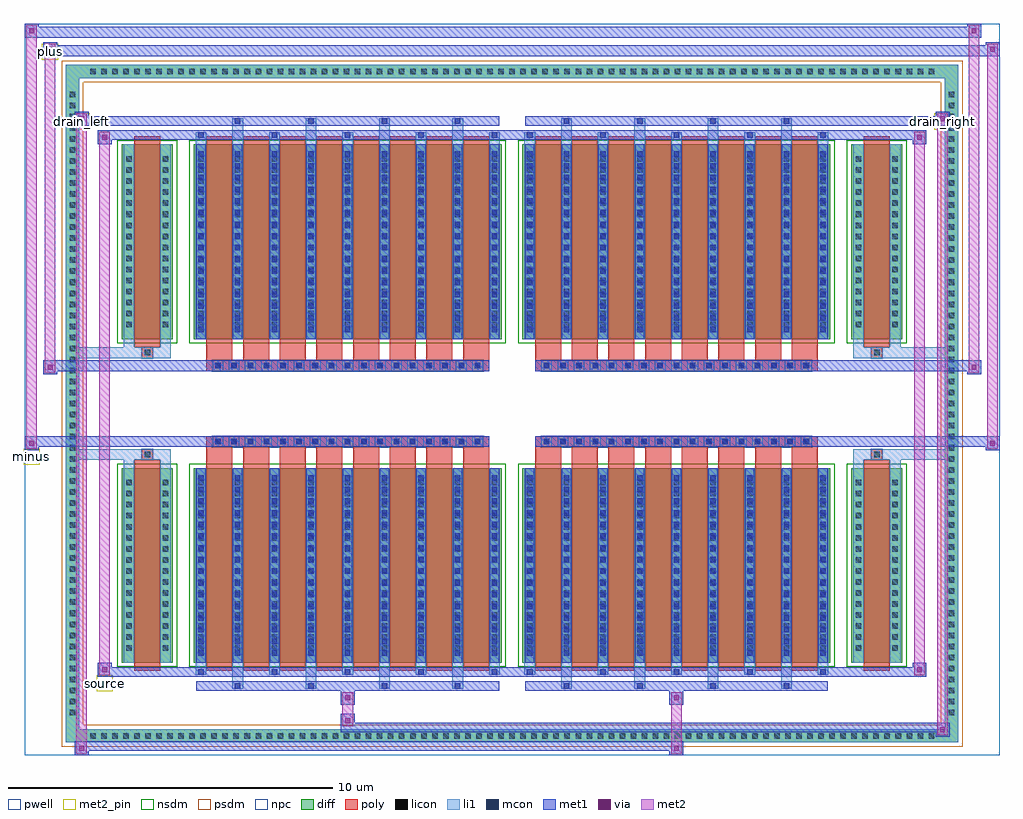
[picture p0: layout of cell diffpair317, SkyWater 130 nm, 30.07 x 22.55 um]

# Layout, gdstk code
import gdstk
lib = gdstk.Library(unit=1e-6, precision=5e-09)
def R(c, l, rs):  # rectangles x0, y0, x1, y1
    for r in rs: c.add(gdstk.rectangle(r[:2], r[2:], *l))
def A(c, l, x, y, w, h, nx, ny, dx, dy):  # array of equal rectangles
    R(c, l, [(x+i*dx, y+j*dy, x+i*dx+w, y+j*dy+h) for i in range(nx) for j in range(ny)])
def P(c, l, *ps):  # polygons
    for p in ps: c.add(gdstk.Polygon(p, *l))
pwell = (64, 44)
diff = (65, 20)
poly = (66, 20)
licon = (66, 44)
li1 = (67, 20)
mcon = (67, 44)
met1 = (68, 20)
via = (68, 44)
met2_pin = (69, 16)
met2 = (69, 20)
nsdm = (93, 44)
psdm = (94, 20)
npc = (95, 20)

diffpair317 = lib.new_cell('diffpair317')
R(diffpair317, pwell, [(-15.02,-10.84,15.02,11.71), (-12.34,-9.03,-0.01,-0.805), (0.01,-9.03,12.34,-0.805), (-12.34,0.805,-0.01,9.03), (0.01,0.805,12.34,9.03)])
A(diffpair317, diff, -13.125, -10.44, 0.41, 0.41, 77, 2, 0.34, 20.47)
A(diffpair317, diff, -13.75, -9.725, 0.41, 0.41, 1, 57, 0, 0.34)
A(diffpair317, diff, 13.34, -9.725, 0.41, 0.41, 1, 57, 0, 0.34)
R(diffpair317, diff, [(-13.125,-10.44,13.125,-10.03), (-13.75,-9.725,-13.34,9.725), (13.34,-9.725,13.75,9.725), (-12.03,-7.985,-10.45,-1.985), (-9.81,-7.985,-0.32,-1.985), (0.32,-7.985,9.81,-1.985), (10.45,-7.985,12.03,-1.985), (-12.03,1.985,-10.45,7.985), (-9.81,1.985,-0.32,7.985), (0.32,1.985,9.81,7.985), (10.45,1.985,12.03,7.985), (-13.125,10.03,13.125,10.44)])
P(diffpair317, diff, [(13.75,10.44),(-13.75,10.44),(-13.75,-10.03),(-13.34,-10.03),(-13.34,10.03),(13.34,10.03),(13.34,-10.03),(-13.34,-10.03),(-13.75,-10.03),(-13.75,-10.44),(13.75,-10.44)])
A(diffpair317, poly, -9.42, -8.235, 0.8, 6.5, 8, 2, 1.13, 9.97)
A(diffpair317, poly, 0.71, -8.235, 0.8, 6.5, 8, 2, 1.13, 9.97)
A(diffpair317, poly, -9.42, -1.735, 0.8, 0.4, 8, 2, 1.13, 3.07)
A(diffpair317, poly, 0.71, -1.735, 0.8, 0.4, 8, 2, 1.13, 3.07)
A(diffpair317, poly, -9.23, -1.335, 0.33, 0.33, 17, 2, 0.5, 2.34)
A(diffpair317, poly, 0.9, -1.335, 0.33, 0.33, 17, 2, 0.5, 2.34)
R(diffpair317, poly, [(-11.64,-8.235,-10.84,-1.735), (10.84,-8.235,11.64,-1.735), (-11.405,-1.735,-11.075,-1.405), (-11.405,-1.735,-11.075,-1.405), (11.075,-1.735,11.405,-1.405), (11.075,-1.735,11.405,-1.405), (-9.42,-1.335,-0.71,-1.005), (0.71,-1.335,9.42,-1.005), (-9.42,1.005,-0.71,1.335), (0.71,1.005,9.42,1.335), (-11.405,1.405,-11.075,1.735), (-11.405,1.405,-11.075,1.735), (11.075,1.405,11.405,1.735), (11.075,1.405,11.405,1.735), (-11.64,1.735,-10.84,8.235), (10.84,1.735,11.64,8.235)])
A(diffpair317, licon, -13.005, -10.32, 0.17, 0.17, 77, 2, 0.34, 20.47)
A(diffpair317, licon, -13.63, -9.605, 0.17, 0.17, 1, 57, 0, 0.34)
A(diffpair317, licon, 13.46, -9.605, 0.17, 0.17, 1, 57, 0, 0.34)
A(diffpair317, licon, -11.89, -7.62, 0.17, 0.17, 1, 16, 0, 0.34)
A(diffpair317, licon, -10.76, -7.62, 0.17, 0.17, 1, 16, 0, 0.34)
A(diffpair317, licon, -9.67, -7.62, 0.17, 0.17, 9, 16, 1.13, 0.34)
A(diffpair317, licon, 0.46, -7.62, 0.17, 0.17, 9, 16, 1.13, 0.34)
A(diffpair317, licon, 10.59, -7.62, 0.17, 0.17, 1, 16, 0, 0.34)
A(diffpair317, licon, 11.72, -7.62, 0.17, 0.17, 1, 16, 0, 0.34)
A(diffpair317, licon, -9.15, -1.255, 0.17, 0.17, 17, 2, 0.5, 2.34)
A(diffpair317, licon, 0.98, -1.255, 0.17, 0.17, 17, 2, 0.5, 2.34)
A(diffpair317, licon, -11.89, 2.35, 0.17, 0.17, 1, 16, 0, 0.34)
A(diffpair317, licon, -10.76, 2.35, 0.17, 0.17, 1, 16, 0, 0.34)
A(diffpair317, licon, -9.67, 2.35, 0.17, 0.17, 9, 16, 1.13, 0.34)
A(diffpair317, licon, 0.46, 2.35, 0.17, 0.17, 9, 16, 1.13, 0.34)
A(diffpair317, licon, 10.59, 2.35, 0.17, 0.17, 1, 16, 0, 0.34)
A(diffpair317, licon, 11.72, 2.35, 0.17, 0.17, 1, 16, 0, 0.34)
R(diffpair317, licon, [(-11.325,-1.655,-11.155,-1.485), (11.155,-1.655,11.325,-1.485), (-11.325,1.485,-11.155,1.655), (11.155,1.485,11.325,1.655)])
A(diffpair317, li1, -13.085, -10.4, 0.33, 0.33, 77, 2, 0.34, 20.47)
A(diffpair317, li1, -13.71, -9.685, 0.33, 0.33, 1, 57, 0, 0.34)
A(diffpair317, li1, 13.38, -9.685, 0.33, 0.33, 1, 57, 0, 0.34)
A(diffpair317, li1, -8.62, -8.79, 0.33, 0.805, 4, 2, 2.26, 16.775)
A(diffpair317, li1, -8.54, -8.79, 0.17, 0.17, 4, 2, 2.26, 17.41)
A(diffpair317, li1, 1.51, -8.79, 0.33, 0.805, 4, 2, 2.26, 16.775)
A(diffpair317, li1, 1.59, -8.79, 0.17, 0.17, 4, 2, 2.26, 17.41)
A(diffpair317, li1, -9.75, -8.36, 0.33, 0.375, 5, 2, 2.26, 16.345)
A(diffpair317, li1, -9.67, -8.36, 0.17, 0.17, 5, 2, 2.26, 16.55)
A(diffpair317, li1, 0.38, -8.36, 0.33, 0.375, 5, 2, 2.26, 16.345)
A(diffpair317, li1, 0.46, -8.36, 0.17, 0.17, 5, 2, 2.26, 16.55)
A(diffpair317, li1, -9.75, -7.985, 0.33, 6, 9, 2, 1.13, 9.97)
A(diffpair317, li1, 0.38, -7.985, 0.33, 6, 9, 2, 1.13, 9.97)
A(diffpair317, li1, -9.67, -7.77, 0.17, 0.17, 9, 16, 1.13, 0.36)
A(diffpair317, li1, -9.67, -7.77, 0.17, 5.57, 9, 2, 1.13, 9.97)
A(diffpair317, li1, 0.46, -7.77, 0.17, 0.17, 9, 16, 1.13, 0.36)
A(diffpair317, li1, 0.46, -7.77, 0.17, 5.57, 9, 2, 1.13, 9.97)
A(diffpair317, li1, -11.97, -7.7, 0.33, 0.33, 1, 16, 0, 0.34)
A(diffpair317, li1, -10.84, -7.7, 0.33, 0.33, 1, 16, 0, 0.34)
A(diffpair317, li1, -9.75, -7.7, 0.33, 0.33, 9, 16, 1.13, 0.34)
A(diffpair317, li1, 0.38, -7.7, 0.33, 0.33, 9, 16, 1.13, 0.34)
A(diffpair317, li1, 10.51, -7.7, 0.33, 0.33, 1, 16, 0, 0.34)
A(diffpair317, li1, 11.64, -7.7, 0.33, 0.33, 1, 16, 0, 0.34)
A(diffpair317, li1, -9.23, -1.335, 0.33, 0.33, 17, 2, 0.5, 2.34)
A(diffpair317, li1, 0.9, -1.335, 0.33, 0.33, 17, 2, 0.5, 2.34)
A(diffpair317, li1, -9.67, 2.2, 0.17, 0.17, 9, 16, 1.13, 0.36)
A(diffpair317, li1, 0.46, 2.2, 0.17, 0.17, 9, 16, 1.13, 0.36)
A(diffpair317, li1, -11.97, 2.27, 0.33, 0.33, 1, 16, 0, 0.34)
A(diffpair317, li1, -10.84, 2.27, 0.33, 0.33, 1, 16, 0, 0.34)
A(diffpair317, li1, -9.75, 2.27, 0.33, 0.33, 9, 16, 1.13, 0.34)
A(diffpair317, li1, 0.38, 2.27, 0.33, 0.33, 9, 16, 1.13, 0.34)
A(diffpair317, li1, 10.51, 2.27, 0.33, 0.33, 1, 16, 0, 0.34)
A(diffpair317, li1, 11.64, 2.27, 0.33, 0.33, 1, 16, 0, 0.34)
R(diffpair317, li1, [(-13.75,-10.44,-13.34,-10.03), (-13.75,-10.44,-13.34,-10.03), (-13.34,-10.44,13.34,-10.03), (13.34,-10.44,13.75,-10.03), (13.34,-10.44,13.75,-10.03), (-13.75,-10.03,-13.34,10.03), (13.34,-10.03,13.75,10.03), (-11.97,-7.985,-11.64,-1.985), (-10.84,-7.985,-10.51,-1.985), (10.51,-7.985,10.84,-1.985), (11.64,-7.985,11.97,-1.985), (-11.97,-1.985,-11.64,-1.405), (-10.84,-1.985,-10.51,-1.405), (10.51,-1.985,10.84,-1.405), (11.64,-1.985,11.97,-1.405), (-13.75,-1.735,-11.405,-1.405), (-11.97,-1.735,-11.405,-1.405), (-11.405,-1.735,-11.075,-1.405), (-11.075,-1.735,-10.51,-1.405), (10.51,-1.735,11.075,-1.405), (11.075,-1.735,11.405,-1.405), (11.075,-1.735,13.75,-1.405), (11.405,-1.735,11.97,-1.405), (-13.75,1.405,-11.405,1.735), (-11.97,1.405,-11.405,1.735), (-11.97,1.405,-11.64,1.985), (-11.405,1.405,-11.075,1.735), (-11.075,1.405,-10.51,1.735), (-10.84,1.405,-10.51,1.985), (10.51,1.405,11.075,1.735), (10.51,1.405,10.84,1.985), (11.075,1.405,11.405,1.735), (11.075,1.405,13.75,1.735), (11.405,1.405,11.97,1.735), (11.64,1.405,11.97,1.985), (-11.97,1.985,-11.64,7.985), (-10.84,1.985,-10.51,7.985), (10.51,1.985,10.84,7.985), (11.64,1.985,11.97,7.985), (-13.75,10.03,-13.34,10.44), (-13.75,10.03,-13.34,10.44), (-13.34,10.03,13.34,10.44), (13.34,10.03,13.75,10.44), (13.34,10.03,13.75,10.44)])
A(diffpair317, mcon, -8.54, -8.79, 0.17, 0.17, 4, 2, 2.26, 17.41)
A(diffpair317, mcon, 1.59, -8.79, 0.17, 0.17, 4, 2, 2.26, 17.41)
A(diffpair317, mcon, -9.67, -8.36, 0.17, 0.17, 5, 2, 2.26, 16.55)
A(diffpair317, mcon, 0.46, -8.36, 0.17, 0.17, 5, 2, 2.26, 16.55)
A(diffpair317, mcon, -9.67, -7.77, 0.17, 0.17, 9, 16, 1.13, 0.36)
A(diffpair317, mcon, 0.46, -7.77, 0.17, 0.17, 9, 16, 1.13, 0.36)
A(diffpair317, mcon, -9.15, -1.255, 0.17, 0.17, 17, 2, 0.5, 2.34)
A(diffpair317, mcon, 0.98, -1.255, 0.17, 0.17, 17, 2, 0.5, 2.34)
A(diffpair317, mcon, -9.67, 2.2, 0.17, 0.17, 9, 16, 1.13, 0.36)
A(diffpair317, mcon, 0.46, 2.2, 0.17, 0.17, 9, 16, 1.13, 0.36)
A(diffpair317, met1, -8.6, -8.85, 0.29, 0.29, 4, 2, 2.26, 17.41)
A(diffpair317, met1, 1.53, -8.85, 0.29, 0.29, 4, 2, 2.26, 17.41)
A(diffpair317, met1, -9.73, -8.42, 0.29, 0.29, 5, 2, 2.26, 16.55)
A(diffpair317, met1, 0.4, -8.42, 0.29, 0.29, 5, 2, 2.26, 16.55)
A(diffpair317, met1, -9.73, -7.985, 0.29, 6, 9, 2, 1.13, 9.97)
A(diffpair317, met1, 0.4, -7.985, 0.29, 6, 9, 2, 1.13, 9.97)
A(diffpair317, met1, -9.73, -7.83, 0.29, 0.29, 9, 16, 1.13, 0.36)
A(diffpair317, met1, 0.4, -7.83, 0.29, 0.29, 9, 16, 1.13, 0.36)
A(diffpair317, met1, -9.21, -1.315, 0.29, 0.29, 17, 2, 0.5, 2.34)
A(diffpair317, met1, 0.92, -1.315, 0.29, 0.29, 17, 2, 0.5, 2.34)
A(diffpair317, met1, -9.73, 2.14, 0.29, 0.29, 9, 16, 1.13, 0.36)
A(diffpair317, met1, 0.4, 2.14, 0.29, 0.29, 9, 16, 1.13, 0.36)
R(diffpair317, met1, [(-13.48,-10.84,-13.05,-10.41), (4.85,-10.84,5.28,-10.41), (-13.48,-10.7,5.28,-10.41), (13.05,-10.27,13.48,-9.84), (-5.28,-10.13,13.48,-9.84), (-5.28,-9.99,-4.85,-9.56), (-5.28,-9.28,-4.85,-8.85), (4.85,-9.28,5.28,-8.85), (-9.73,-8.85,-0.4,-8.56), (0.4,-8.85,9.73,-8.56), (-12.77,-8.42,-12.34,-7.99), (-12.77,-8.42,-9.73,-8.13), (-9.73,-8.42,-0.4,-8.13), (-0.4,-8.42,0.4,-8.13), (0.4,-8.42,9.73,-8.13), (9.73,-8.42,12.77,-8.13), (12.34,-8.42,12.77,-7.99), (-15.02,-1.435,-14.59,-1.005), (14.59,-1.435,15.02,-1.005), (-15.02,-1.335,-0.71,-1.005), (-9.42,-1.335,-0.71,-1.005), (0.71,-1.335,9.42,-1.005), (0.71,-1.335,15.02,-1.005), (-14.45,0.905,-14.02,1.335), (14.02,0.905,14.45,1.335), (-14.45,1.005,-9.42,1.335), (-9.42,1.005,-0.71,1.335), (0.71,1.005,9.42,1.335), (9.42,1.005,14.45,1.335), (-12.77,7.99,-12.34,8.42), (12.34,7.99,12.77,8.42), (-12.77,8.13,-9.73,8.42), (-9.73,8.13,-0.4,8.42), (-0.4,8.13,0.4,8.42), (0.4,8.13,9.73,8.42), (9.73,8.13,12.77,8.42), (-13.48,8.56,-13.05,8.99), (-13.48,8.56,-9.73,8.85), (-9.73,8.56,-0.4,8.85), (0.4,8.56,9.73,8.85), (9.73,8.56,13.48,8.85), (13.05,8.56,13.48,8.99), (-14.45,10.71,-14.02,11.14), (-14.45,10.71,-12.34,11.04), (-12.34,10.71,12.34,11.04), (12.34,10.71,15.02,11.04), (14.59,10.71,15.02,11.14), (-15.02,11.28,-14.59,11.71), (-15.02,11.28,-12.34,11.61), (-12.34,11.28,12.34,11.61), (12.34,11.28,14.45,11.61), (14.02,11.28,14.45,11.71)])
R(diffpair317, via, [(-13.34,-10.7,-13.19,-10.55), (4.99,-10.7,5.14,-10.55), (13.19,-10.13,13.34,-9.98), (-5.14,-9.85,-4.99,-9.7), (-5.14,-9.14,-4.99,-8.99), (4.99,-9.14,5.14,-8.99), (-12.63,-8.28,-12.48,-8.13), (12.48,-8.28,12.63,-8.13), (-14.88,-1.295,-14.73,-1.145), (14.73,-1.295,14.88,-1.145), (-14.31,1.045,-14.16,1.195), (14.16,1.045,14.31,1.195), (-12.63,8.13,-12.48,8.28), (12.48,8.13,12.63,8.28), (-13.34,8.7,-13.19,8.85), (13.19,8.7,13.34,8.85), (-14.31,10.85,-14.16,11), (14.73,10.85,14.88,11), (-14.88,11.42,-14.73,11.57), (14.16,11.42,14.31,11.57)])
R(diffpair317, met2_pin, [(-12.805,-8.87,-12.305,-8.37), (-15.055,-1.885,-14.555,-1.385), (-13.515,8.44,-13.015,8.94), (13.015,8.44,13.515,8.94), (-14.485,10.59,-13.985,11.09)])
R(diffpair317, met2, [(-13.43,-10.79,-13.1,-10.46), (-13.43,-10.79,-13.1,8.94), (4.9,-10.79,5.23,-10.46), (4.9,-10.46,5.23,-9.23), (13.1,-10.22,13.43,-9.89), (13.1,-10.22,13.43,8.94), (-5.23,-9.94,-4.9,-9.61), (-5.23,-9.61,-4.9,-9.23), (-5.23,-9.23,-4.9,-8.9), (4.9,-9.23,5.23,-8.9), (-12.72,-8.37,-12.39,-8.04), (-12.72,-8.37,-12.39,8.37), (12.39,-8.37,12.72,-8.04), (12.39,-8.37,12.72,8.37), (-14.97,-1.385,-14.64,-1.055), (-14.97,-1.385,-14.64,11.66), (14.64,-1.385,14.97,-1.055), (14.64,-1.385,14.97,11.09), (-14.4,0.955,-14.07,1.285), (-14.4,0.955,-14.07,11.09), (14.07,0.955,14.4,1.285), (14.07,0.955,14.4,11.66), (-12.72,8.04,-12.39,8.37), (12.39,8.04,12.72,8.37), (-13.43,8.61,-13.1,8.94), (13.1,8.61,13.43,8.94), (-14.4,10.76,-14.07,11.09), (14.64,10.76,14.97,11.09), (-14.97,11.33,-14.64,11.66), (14.07,11.33,14.4,11.66)])
P(diffpair317, met2, [(14.97,-1.385),(14.97,-1.385),(14.97,-1.055),(14.97,-1.055)],
  [(14.97,10.76),(14.97,10.76),(14.97,11.09),(14.97,11.09)],
  [(-14.64,-1.385),(-14.64,-1.385),(-14.64,-1.055),(-14.64,-1.055)],
  [(-14.64,11.33),(-14.64,11.33),(-14.64,11.66),(-14.64,11.66)],
  [(14.4,0.955),(14.4,0.955),(14.4,1.285),(14.4,1.285)],
  [(14.4,11.33),(14.4,11.33),(14.4,11.66),(14.4,11.66)],
  [(-14.07,0.955),(-14.07,0.955),(-14.07,1.285),(-14.07,1.285)],
  [(-14.07,10.76),(-14.07,10.76),(-14.07,11.09),(-14.07,11.09)],
  [(-13.1,-10.79),(-13.1,-10.79),(-13.1,-10.46),(-13.1,-10.46)],
  [(-13.1,8.61),(-13.1,8.61),(-13.1,8.94),(-13.1,8.94)],
  [(13.43,-10.22),(13.43,-10.22),(13.43,-9.89),(13.43,-9.89)],
  [(13.43,8.61),(13.43,8.61),(13.43,8.94),(13.43,8.94)],
  [(-12.39,-8.37),(-12.39,-8.37),(-12.39,-8.04),(-12.39,-8.04)],
  [(-12.39,8.04),(-12.39,8.04),(-12.39,8.37),(-12.39,8.37)],
  [(12.72,-8.37),(12.72,-8.37),(12.72,-8.04),(12.72,-8.04)],
  [(12.72,8.04),(12.72,8.04),(12.72,8.37),(12.72,8.37)])
R(diffpair317, nsdm, [(-12.16,-8.115,-10.32,-1.855), (-9.94,-8.115,-0.19,-1.855), (0.19,-8.115,9.94,-1.855), (10.32,-8.115,12.16,-1.855), (-12.16,1.855,-10.32,8.115), (-9.94,1.855,-0.19,8.115), (0.19,1.855,9.94,8.115), (10.32,1.855,12.16,8.115)])
P(diffpair317, psdm, [(13.88,10.57),(-13.88,10.57),(-13.88,-9.9),(-13.21,-9.9),(-13.21,9.9),(13.21,9.9),(13.21,-9.9),(-13.21,-9.9),(-13.88,-9.9),(-13.88,-10.57),(13.88,-10.57)])
A(diffpair317, npc, -9.25, -1.355, 0.37, 0.37, 17, 2, 0.5, 2.34)
A(diffpair317, npc, 0.88, -1.355, 0.37, 0.37, 17, 2, 0.5, 2.34)
R(diffpair317, npc, [(-11.425,-1.755,-11.055,-1.385), (11.055,-1.755,11.425,-1.385), (-9.25,-1.355,-8.38,-0.985), (-9.25,-1.355,-8.38,-0.985), (-8.75,-1.355,-7.88,-0.985), (-8.75,-1.355,-7.88,-0.985), (-8.25,-1.355,-7.38,-0.985), (-8.25,-1.355,-7.38,-0.985), (-7.75,-1.355,-6.88,-0.985), (-7.75,-1.355,-6.88,-0.985), (-7.25,-1.355,-6.38,-0.985), (-7.25,-1.355,-6.38,-0.985), (-6.75,-1.355,-5.88,-0.985), (-6.75,-1.355,-5.88,-0.985), (-6.25,-1.355,-5.38,-0.985), (-6.25,-1.355,-5.38,-0.985), (-5.75,-1.355,-4.88,-0.985), (-5.75,-1.355,-4.88,-0.985), (-5.25,-1.355,-4.38,-0.985), (-5.25,-1.355,-4.38,-0.985), (-4.75,-1.355,-3.88,-0.985), (-4.75,-1.355,-3.88,-0.985), (-4.25,-1.355,-3.38,-0.985), (-4.25,-1.355,-3.38,-0.985), (-3.75,-1.355,-2.88,-0.985), (-3.75,-1.355,-2.88,-0.985), (-3.25,-1.355,-2.38,-0.985), (-3.25,-1.355,-2.38,-0.985), (-2.75,-1.355,-1.88,-0.985), (-2.75,-1.355,-1.88,-0.985), (-2.25,-1.355,-1.38,-0.985), (-2.25,-1.355,-1.38,-0.985), (-1.75,-1.355,-0.88,-0.985), (-1.75,-1.355,-0.88,-0.985), (0.88,-1.355,1.75,-0.985), (0.88,-1.355,1.75,-0.985), (1.38,-1.355,2.25,-0.985), (1.38,-1.355,2.25,-0.985), (1.88,-1.355,2.75,-0.985), (1.88,-1.355,2.75,-0.985), (2.38,-1.355,3.25,-0.985), (2.38,-1.355,3.25,-0.985), (2.88,-1.355,3.75,-0.985), (2.88,-1.355,3.75,-0.985), (3.38,-1.355,4.25,-0.985), (3.38,-1.355,4.25,-0.985), (3.88,-1.355,4.75,-0.985), (3.88,-1.355,4.75,-0.985), (4.38,-1.355,5.25,-0.985), (4.38,-1.355,5.25,-0.985), (4.88,-1.355,5.75,-0.985), (4.88,-1.355,5.75,-0.985), (5.38,-1.355,6.25,-0.985), (5.38,-1.355,6.25,-0.985), (5.88,-1.355,6.75,-0.985), (5.88,-1.355,6.75,-0.985), (6.38,-1.355,7.25,-0.985), (6.38,-1.355,7.25,-0.985), (6.88,-1.355,7.75,-0.985), (6.88,-1.355,7.75,-0.985), (7.38,-1.355,8.25,-0.985), (7.38,-1.355,8.25,-0.985), (7.88,-1.355,8.75,-0.985), (7.88,-1.355,8.75,-0.985), (8.38,-1.355,9.25,-0.985), (8.38,-1.355,9.25,-0.985), (-9.25,0.985,-8.38,1.355), (-9.25,0.985,-8.38,1.355), (-8.75,0.985,-7.88,1.355), (-8.75,0.985,-7.88,1.355), (-8.25,0.985,-7.38,1.355), (-8.25,0.985,-7.38,1.355), (-7.75,0.985,-6.88,1.355), (-7.75,0.985,-6.88,1.355), (-7.25,0.985,-6.38,1.355), (-7.25,0.985,-6.38,1.355), (-6.75,0.985,-5.88,1.355), (-6.75,0.985,-5.88,1.355), (-6.25,0.985,-5.38,1.355), (-6.25,0.985,-5.38,1.355), (-5.75,0.985,-4.88,1.355), (-5.75,0.985,-4.88,1.355), (-5.25,0.985,-4.38,1.355), (-5.25,0.985,-4.38,1.355), (-4.75,0.985,-3.88,1.355), (-4.75,0.985,-3.88,1.355), (-4.25,0.985,-3.38,1.355), (-4.25,0.985,-3.38,1.355), (-3.75,0.985,-2.88,1.355), (-3.75,0.985,-2.88,1.355), (-3.25,0.985,-2.38,1.355), (-3.25,0.985,-2.38,1.355), (-2.75,0.985,-1.88,1.355), (-2.75,0.985,-1.88,1.355), (-2.25,0.985,-1.38,1.355), (-2.25,0.985,-1.38,1.355), (-1.75,0.985,-0.88,1.355), (-1.75,0.985,-0.88,1.355), (0.88,0.985,1.75,1.355), (0.88,0.985,1.75,1.355), (1.38,0.985,2.25,1.355), (1.38,0.985,2.25,1.355), (1.88,0.985,2.75,1.355), (1.88,0.985,2.75,1.355), (2.38,0.985,3.25,1.355), (2.38,0.985,3.25,1.355), (2.88,0.985,3.75,1.355), (2.88,0.985,3.75,1.355), (3.38,0.985,4.25,1.355), (3.38,0.985,4.25,1.355), (3.88,0.985,4.75,1.355), (3.88,0.985,4.75,1.355), (4.38,0.985,5.25,1.355), (4.38,0.985,5.25,1.355), (4.88,0.985,5.75,1.355), (4.88,0.985,5.75,1.355), (5.38,0.985,6.25,1.355), (5.38,0.985,6.25,1.355), (5.88,0.985,6.75,1.355), (5.88,0.985,6.75,1.355), (6.38,0.985,7.25,1.355), (6.38,0.985,7.25,1.355), (6.88,0.985,7.75,1.355), (6.88,0.985,7.75,1.355), (7.38,0.985,8.25,1.355), (7.38,0.985,8.25,1.355), (7.88,0.985,8.75,1.355), (7.88,0.985,8.75,1.355), (8.38,0.985,9.25,1.355), (8.38,0.985,9.25,1.355), (-11.425,1.385,-11.055,1.755), (11.055,1.385,11.425,1.755)])
diffpair317.add(gdstk.Label('minus', (-14.805,-1.635), layer=69, texttype=5))
diffpair317.add(gdstk.Label('drain_right', (13.265,8.69), layer=69, texttype=5))
diffpair317.add(gdstk.Label('drain_left', (-13.265,8.69), layer=69, texttype=5))
diffpair317.add(gdstk.Label('source', (-12.555,-8.62), layer=69, texttype=5))
diffpair317.add(gdstk.Label('plus', (-14.235,10.84), layer=69, texttype=5))

lib.write_gds('diffpair317.gds')
